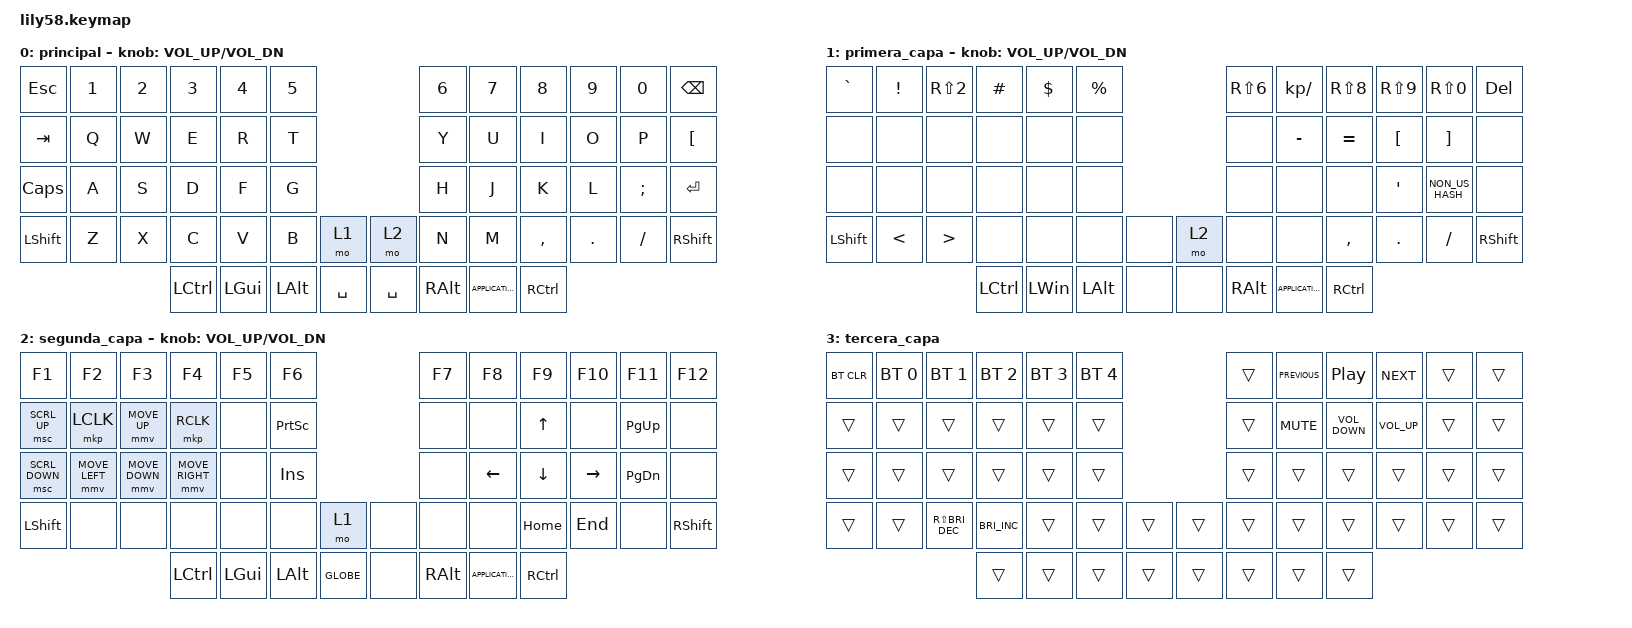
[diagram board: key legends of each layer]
/*
 * Copyright (c) 2020 The ZMK Contributors
 *
 * SPDX-License-Identifier: MIT
 */

#include <behaviors.dtsi>
#include <dt-bindings/zmk/bt.h>
#include <dt-bindings/zmk/keys.h>
#include <dt-bindings/zmk/pointing.h>

/ {
    keymap {
        compatible = "zmk,keymap";

        principal {
            // ------------------------------------------------------------------------------------------------------------
            // |  ESC  |  1  |  2  |  3   |  4   |  5   |                   |  6   |  7    |  8    |  9   |   0   |   `   |
            // |  TAB  |  Q  |  W  |  E   |  R   |  T   |                   |  Y   |  U    |  I    |  O   |   P   |   -   |
            // |  CTRL |  A  |  S  |  D   |  F   |  G   |                   |  H   |  J    |  K    |  L   |   ;   |   '   |
            // | SHIFT |  Z  |  X  |  C   |  V   |  B   |   "["  |  |  "]"  |  N   |  M    |  ,    |  .   |   /   | SHIFT |
            //                     | ALT  | GUI  | LOWER|  SPACE |  | ENTER | RAISE| BSPC  | GUI   |

            bindings = <
&kp ESC    &kp N1  &kp N2  &kp N3            &kp N4    &kp N5                                &kp N6         &kp N7             &kp N8             &kp N9   &kp N0     &kp BACKSPACE
&kp TAB    &kp Q   &kp W   &kp E             &kp R     &kp T                                 &kp Y          &kp U              &kp I              &kp O    &kp P      &kp LEFT_BRACKET
&kp CAPS   &kp A   &kp S   &kp D             &kp F     &kp G                                 &kp H          &kp J              &kp K              &kp L    &kp SEMI   &kp ENTER
&kp LSHFT  &kp Z   &kp X   &kp C             &kp V     &kp B         &mo 1        &mo 2      &kp N          &kp M              &kp COMMA          &kp DOT  &kp SLASH  &kp RSHFT
                           &kp LEFT_CONTROL  &kp LGUI  &kp LEFT_ALT  &kp SPACE    &kp SPACE  &kp RIGHT_ALT  &kp K_APPLICATION  &kp RIGHT_CONTROL
            >;

            sensor-bindings = <&inc_dec_kp C_VOL_UP C_VOL_DN>;
        };

        primera_capa {
            // ------------------------------------------------------------------------------------------------------------
            // | BTCLR | BT1 | BT2 |  BT3 |  BT4 |  BT5 |                   |      |       |       |      |       |       |
            // |  F1   |  F2 |  F3 |  F4  |  F5  |  F6  |                   |  F7  |  F8   |  F9   |  F10 |  F11  |  F12  |
            // |   `   |  !  |  @  |  #   |  $   |  %   |                   |  ^   |  &    |  *    |  (   |   )   |   ~   |
            // |       |     |     |      |      |      |        |  |       |      |  _    |  +    |  {   |   }   |  "|"  |
            //                     |      |      |      |        |  |       |      |       |       |

            bindings = <
&kp GRAVE       &kp EXCL       &kp RS(NUMBER_2)  &kp HASH          &kp DOLLAR    &kp PERCENT                   &kp RS(NUMBER_6)  &kp KP_DIVIDE      &kp RS(N8)         &kp RS(N9)        &kp RS(N0)         &kp DELETE
&none           &none          &none             &none             &none         &none                         &none             &kp MINUS          &kp EQUAL          &kp LEFT_BRACKET  &kp RIGHT_BRACKET  &none
&none           &none          &none             &none             &none         &none                         &none             &none              &none              &kp APOSTROPHE    &kp NON_US_HASH    &none
&kp LEFT_SHIFT  &kp LESS_THAN  &kp GREATER_THAN  &none             &none         &none         &none    &mo 2  &none             &none              &kp COMMA          &kp PERIOD        &kp SLASH          &kp RIGHT_SHIFT
                                                 &kp LEFT_CONTROL  &kp LEFT_WIN  &kp LEFT_ALT  &none    &none  &kp RIGHT_ALT     &kp K_APPLICATION  &kp RIGHT_CONTROL
            >;

            sensor-bindings = <&inc_dec_kp C_VOL_UP C_VOL_DN>;
        };

        segunda_capa {
            // ------------------------------------------------------------------------------------------------------------
            // |       |     |     |      |      |      |                   |      |       |       |      |       |       |
            // |   `   |  1  |  2  |  3   |  4   |  5   |                   |  6   |   7   |   8   |  9   |   0   |       |
            // |   F1  |  F2 |  F3 |  F4  |  F5  |  F6  |                   |      |   <-  |   v   |  ^   |  ->   |       |
            // |   F7  |  F8 |  F9 |  F10 |  F11 |  F12 |        |  |       |  +   |   -   |   =   |  [   |   ]   |   \   |
            //                     |      |      |      |        |  |       |      |       |       |

            bindings = <
&kp F1          &kp F2          &kp F3          &kp F4            &kp F5        &kp F6                               &kp F7         &kp F8             &kp F9             &kp F10          &kp F11        &kp F12
&msc SCRL_UP    &mkp LCLK       &mmv MOVE_UP    &mkp RCLK         &none         &kp PRINTSCREEN                      &none          &none              &kp UP_ARROW       &none            &kp PAGE_UP    &none
&msc SCRL_DOWN  &mmv MOVE_LEFT  &mmv MOVE_DOWN  &mmv MOVE_RIGHT   &none         &kp INSERT                           &none          &kp LEFT_ARROW     &kp DOWN_ARROW     &kp RIGHT_ARROW  &kp PAGE_DOWN  &none
&kp LEFT_SHIFT  &none           &none           &none             &none         &none            &mo 1        &none  &none          &none              &kp HOME           &kp END          &none          &kp RIGHT_SHIFT
                                                &kp LEFT_CONTROL  &kp LEFT_GUI  &kp LEFT_ALT     &kp GLOBE    &none  &kp RIGHT_ALT  &kp K_APPLICATION  &kp RIGHT_CONTROL
            >;

            sensor-bindings = <&inc_dec_kp C_VOL_UP C_VOL_DN>;
        };

        tercera_capa {
            bindings = <
&bt BT_CLR  &bt BT_SEL 0  &bt BT_SEL 1              &bt BT_SEL 2          &bt BT_SEL 3  &bt BT_SEL 4                    &trans  &kp C_PREVIOUS  &kp C_PLAY_PAUSE   &kp C_NEXT       &trans  &trans
&trans      &trans        &trans                    &trans                &trans        &trans                          &trans  &kp K_MUTE      &kp C_VOLUME_DOWN  &kp C_VOLUME_UP  &trans  &trans
&trans      &trans        &trans                    &trans                &trans        &trans                          &trans  &trans          &trans             &trans           &trans  &trans
&trans      &trans        &kp RS(C_BRIGHTNESS_DEC)  &kp C_BRIGHTNESS_INC  &trans        &trans        &trans    &trans  &trans  &trans          &trans             &trans           &trans  &trans
                                                    &trans                &trans        &trans        &trans    &trans  &trans  &trans          &trans
            >;
        };
    };

    conditional_layers {
        compatible = "zmk,conditional-layers";

        Tercera {
            if-layers = <1 2>;
            then-layer = <3>;
        };
    };
};
